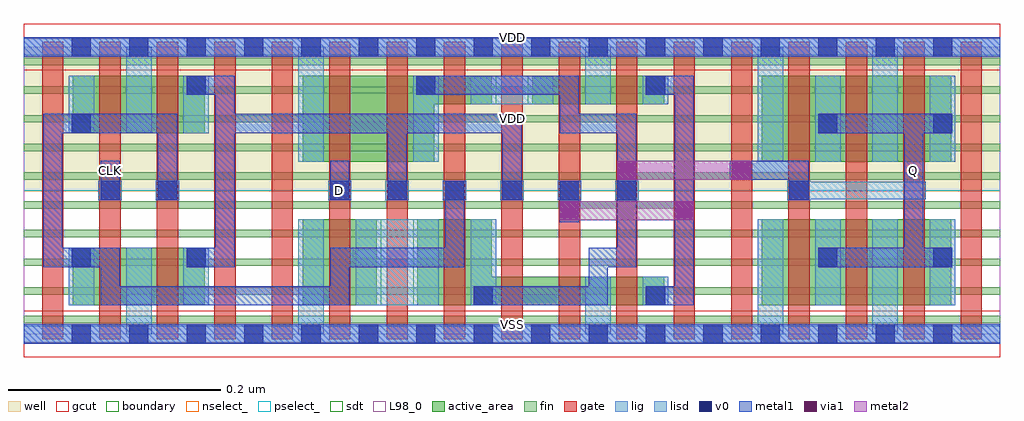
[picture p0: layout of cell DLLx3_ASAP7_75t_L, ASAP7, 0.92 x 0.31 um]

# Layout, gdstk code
import gdstk
lib = gdstk.Library(unit=1e-6, precision=2.5e-10)
def R(c, l, rs):  # rectangles x0, y0, x1, y1
    for r in rs: c.add(gdstk.rectangle(r[:2], r[2:], *l))
def A(c, l, x, y, w, h, nx, ny, dx, dy):  # array of equal rectangles
    R(c, l, [(x+i*dx, y+j*dy, x+i*dx+w, y+j*dy+h) for i in range(nx) for j in range(ny)])
def P(c, l, *ps):  # polygons
    for p in ps: c.add(gdstk.Polygon(p, *l))
well = (1, 0)
fin = (2, 0)
gate = (7, 0)
gcut = (10, 0)
active_area = (11, 0)
nselect_ = (12, 0)
pselect_ = (13, 0)
lig = (16, 0)
lisd = (17, 0)
v0 = (18, 0)
metal1 = (19, 0)
metal2 = (20, 0)
via1 = (21, 0)
sdt = (88, 0)
L98_0 = (98, 0)
boundary = (100, 0)

dllx3_asap7_75t_l = lib.new_cell('DLLx3_ASAP7_75t_L')
R(dllx3_asap7_75t_l, well, [(0,0.135,0.918,0.27)])
A(dllx3_asap7_75t_l, fin, 0, 0.01, 0.918, 0.007, 1, 10, 0, 0.027)
A(dllx3_asap7_75t_l, gate, 0.017, -0.005, 0.02, 0.28, 17, 1, 0.054, 0)
R(dllx3_asap7_75t_l, gcut, [(0,-0.022,0.918,0.022), (0,0.248,0.918,0.292)])
R(dllx3_asap7_75t_l, active_area, [(0.046,0.027,0.17,0.081), (0.262,0.027,0.332,0.108), (0.694,0.027,0.872,0.108), (0.694,0.162,0.872,0.243), (0.046,0.189,0.17,0.243), (0.478,0.216,0.602,0.243)])
P(dllx3_asap7_75t_l, active_area, [(0.37,0.027),(0.37,0.108),(0.44,0.108),(0.44,0.054),(0.602,0.054),(0.602,0.027)],
  [(0.262,0.162),(0.262,0.243),(0.44,0.243),(0.44,0.216),(0.386,0.216),(0.386,0.162)])
R(dllx3_asap7_75t_l, nselect_, [(0,0,0.918,0.135)])
R(dllx3_asap7_75t_l, pselect_, [(0,0.135,0.918,0.27)])
A(dllx3_asap7_75t_l, lig, 0.286, 0.126, 0.022, 0.018, 6, 1, 0.054, 0)
R(dllx3_asap7_75t_l, lig, [(0,-0.008,0.918,0.008), (0.07,0.126,0.092,0.144), (0.124,0.126,0.146,0.144), (0.718,0.126,0.74,0.144), (0.718,0.127,0.848,0.143), (0,0.262,0.918,0.278)])
R(dllx3_asap7_75t_l, lisd, [(0.096,0,0.12,0.081), (0.096,0,0.12,0.081), (0.258,0,0.282,0.108), (0.258,0,0.282,0.108), (0.528,0,0.552,0.054), (0.69,0,0.714,0.108), (0.69,0,0.714,0.108), (0.798,0,0.822,0.108), (0.798,0,0.822,0.108), (0.042,0.027,0.066,0.081), (0.15,0.027,0.174,0.081), (0.312,0.027,0.39,0.108), (0.42,0.027,0.444,0.108), (0.582,0.027,0.606,0.054), (0.744,0.027,0.768,0.108), (0.852,0.027,0.876,0.108), (0.258,0.162,0.282,0.27), (0.258,0.162,0.282,0.27), (0.366,0.162,0.39,0.243), (0.69,0.162,0.714,0.27), (0.69,0.162,0.714,0.27), (0.744,0.162,0.768,0.243), (0.798,0.162,0.822,0.27), (0.798,0.162,0.822,0.27), (0.852,0.162,0.876,0.243), (0.042,0.189,0.066,0.243), (0.096,0.189,0.12,0.27), (0.096,0.189,0.12,0.27), (0.15,0.189,0.174,0.243), (0.42,0.216,0.498,0.243), (0.528,0.216,0.552,0.27), (0.582,0.216,0.606,0.243)])
A(dllx3_asap7_75t_l, v0, 0.045, -0.009, 0.018, 0.018, 16, 2, 0.054, 0.27)
A(dllx3_asap7_75t_l, v0, 0.288, 0.126, 0.018, 0.018, 6, 1, 0.054, 0)
A(dllx3_asap7_75t_l, v0, 0.153, 0.225, 0.018, 0.018, 3, 1, 0.216, 0)
R(dllx3_asap7_75t_l, v0, [(0.423,0.027,0.441,0.045), (0.585,0.027,0.603,0.045), (0.045,0.063,0.063,0.081), (0.153,0.063,0.171,0.081), (0.747,0.063,0.765,0.081), (0.855,0.063,0.873,0.081), (0.072,0.126,0.09,0.144), (0.126,0.126,0.144,0.144), (0.72,0.126,0.738,0.144), (0.045,0.189,0.063,0.207), (0.747,0.189,0.765,0.207), (0.855,0.189,0.873,0.207)])
A(dllx3_asap7_75t_l, metal1, 0.288, 0.126, 0.018, 0.018, 6, 1, 0.054, 0)
A(dllx3_asap7_75t_l, metal1, 0.153, 0.225, 0.018, 0.018, 3, 1, 0.216, 0)
R(dllx3_asap7_75t_l, metal1, [(0,-0.009,0.918,0.009), (0.423,0.027,0.441,0.045), (0.585,0.027,0.603,0.045), (0.045,0.063,0.063,0.081), (0.153,0.063,0.171,0.081), (0.747,0.063,0.765,0.081), (0.855,0.063,0.873,0.081), (0.504,0.105,0.522,0.125), (0.504,0.107,0.522,0.144), (0.612,0.107,0.63,0.125), (0.072,0.126,0.09,0.144), (0.072,0.126,0.09,0.163), (0.126,0.126,0.144,0.144), (0.288,0.126,0.306,0.163), (0.72,0.126,0.738,0.144), (0.558,0.145,0.576,0.163), (0.664,0.145,0.686,0.163), (0.045,0.189,0.063,0.207), (0.747,0.189,0.765,0.207), (0.855,0.189,0.873,0.207), (0,0.261,0.918,0.279)])
P(dllx3_asap7_75t_l, metal1, [(0.072,0.027),(0.072,0.063),(0.018,0.063),(0.018,0.207),(0.144,0.207),(0.144,0.126),(0.126,0.126),(0.126,0.189),(0.036,0.189),(0.036,0.081),(0.09,0.081),(0.09,0.045),(0.288,0.045),(0.288,0.081),(0.396,0.081),(0.396,0.144),(0.414,0.144),(0.414,0.063),(0.306,0.063),(0.306,0.027)],
  [(0.153,0.063),(0.153,0.081),(0.18,0.081),(0.18,0.225),(0.153,0.225),(0.153,0.243),(0.198,0.243),(0.198,0.207),(0.468,0.207),(0.468,0.126),(0.45,0.126),(0.45,0.189),(0.36,0.189),(0.36,0.126),(0.342,0.126),(0.342,0.189),(0.198,0.189),(0.198,0.063)],
  [(0.423,0.027),(0.423,0.045),(0.531,0.045),(0.531,0.081),(0.558,0.081),(0.558,0.189),(0.504,0.189),(0.504,0.225),(0.369,0.225),(0.369,0.243),(0.522,0.243),(0.522,0.207),(0.576,0.207),(0.576,0.063),(0.549,0.063),(0.549,0.027)],
  [(0.72,0.126),(0.72,0.145),(0.666,0.145),(0.666,0.163),(0.738,0.163),(0.738,0.126)],
  [(0.585,0.027),(0.585,0.045),(0.612,0.045),(0.612,0.225),(0.585,0.225),(0.585,0.243),(0.63,0.243),(0.63,0.027)],
  [(0.747,0.063),(0.747,0.081),(0.828,0.081),(0.828,0.189),(0.747,0.189),(0.747,0.207),(0.873,0.207),(0.873,0.189),(0.846,0.189),(0.846,0.081),(0.873,0.081),(0.873,0.063)])
R(dllx3_asap7_75t_l, metal2, [(0.504,0.107,0.63,0.125), (0.558,0.145,0.684,0.163)])
R(dllx3_asap7_75t_l, via1, [(0.504,0.107,0.522,0.125), (0.612,0.107,0.63,0.125), (0.558,0.145,0.576,0.163), (0.666,0.145,0.684,0.163)])
A(dllx3_asap7_75t_l, sdt, 0.258, 0.027, 0.024, 0.081, 4, 1, 0.054, 0)
A(dllx3_asap7_75t_l, sdt, 0.69, 0.027, 0.024, 0.081, 3, 2, 0.054, 0.135)
A(dllx3_asap7_75t_l, sdt, 0.42, 0.216, 0.024, 0.027, 4, 1, 0.054, 0)
R(dllx3_asap7_75t_l, sdt, [(0.042,0.027,0.066,0.081), (0.096,0.027,0.12,0.081), (0.096,0.027,0.12,0.081), (0.15,0.027,0.174,0.081), (0.258,0.027,0.282,0.108), (0.528,0.027,0.552,0.054), (0.582,0.027,0.606,0.054), (0.69,0.027,0.714,0.108), (0.798,0.027,0.822,0.108), (0.852,0.027,0.876,0.108), (0.258,0.162,0.282,0.243), (0.258,0.162,0.282,0.243), (0.366,0.162,0.39,0.243), (0.69,0.162,0.714,0.243), (0.798,0.162,0.822,0.243), (0.852,0.162,0.876,0.243), (0.042,0.189,0.066,0.243), (0.096,0.189,0.12,0.243), (0.096,0.189,0.12,0.243), (0.15,0.189,0.174,0.243)])
R(dllx3_asap7_75t_l, L98_0, [(0,0,0.918,0.27)])
R(dllx3_asap7_75t_l, boundary, [(0,0,0.918,0.27)])
dllx3_asap7_75t_l.add(gdstk.Label('VDD', (0.459,0.2025), layer=1, texttype=251))
dllx3_asap7_75t_l.add(gdstk.Label('VSS', (0.459,-0.0675), layer=3, texttype=251))
dllx3_asap7_75t_l.add(gdstk.Label('VSS', (0.459,0.009), layer=19, texttype=251))
dllx3_asap7_75t_l.add(gdstk.Label('VDD', (0.459,0.279), layer=19, texttype=251))
dllx3_asap7_75t_l.add(gdstk.Label('CLK', (0.081,0.154), layer=19, texttype=251))
dllx3_asap7_75t_l.add(gdstk.Label('D', (0.297,0.135), layer=19, texttype=251))
dllx3_asap7_75t_l.add(gdstk.Label('Q', (0.837,0.154), layer=19, texttype=251))

lib.write_gds('DLLx3_ASAP7_75t_L.gds')
